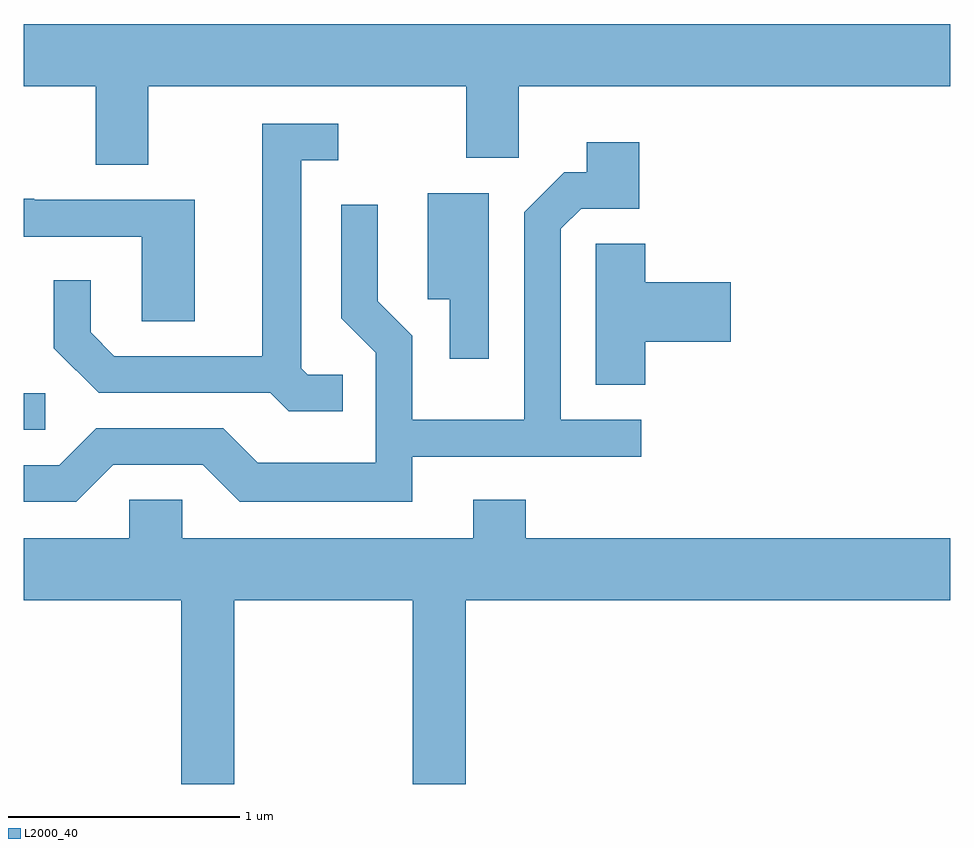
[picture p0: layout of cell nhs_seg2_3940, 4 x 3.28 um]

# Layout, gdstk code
import gdstk
lib = gdstk.Library(unit=1e-6, precision=1e-09)
def R(c, l, rs):  # rectangles x0, y0, x1, y1
    for r in rs: c.add(gdstk.rectangle(r[:2], r[2:], *l))
def P(c, l, *ps):  # polygons
    for p in ps: c.add(gdstk.Polygon(p, *l))
L2000_40 = (2000, 40)

nhs_seg2_3940 = lib.new_cell('nhs_seg2_3940')
R(nhs_seg2_3940, L2000_40, [(301.611,991.331,301.703,991.489)])
P(nhs_seg2_3940, L2000_40, [(302.149,992.816),(303.521,992.816),(303.521,992.506),(303.749,992.506),(303.749,992.816),(305.611,992.816),(305.611,993.084),(301.611,993.084),(301.611,992.816),(301.921,992.816),(301.921,992.476),(302.149,992.476)],
  [(302.988,991.569),(302.837,991.569),(302.809,991.597),(302.809,992.496),(302.968,992.496),(302.968,992.654),(302.641,992.654),(302.641,991.649),(302.002,991.649),(301.899,991.752),(301.899,991.978),(301.741,991.978),(301.741,991.684),(301.934,991.491),(302.674,991.491),(302.754,991.411),(302.988,991.411)],
  [(301.997,991.181),(302.384,991.181),(302.544,991.021),(303.289,991.021),(303.289,991.216),(304.278,991.216),(304.278,991.374),(303.929,991.374),(303.929,992.199),(304.017,992.286),(304.269,992.286),(304.269,992.574),(304.041,992.574),(304.041,992.444),(303.944,992.444),(303.771,992.272),(303.771,991.374),(303.289,991.374),(303.289,991.737),(303.139,991.887),(303.139,992.303),(302.981,992.303),(302.981,991.814),(303.131,991.664),(303.131,991.189),(302.622,991.189),(302.472,991.339),(301.924,991.339),(301.764,991.179),(301.611,991.179),(301.611,991.021),(301.837,991.021)],
  [(303.619,992.354),(303.356,992.354),(303.356,991.896),(303.451,991.896),(303.451,991.638),(303.619,991.638)],
  [(302.349,992.324),(301.655,992.324),(301.655,992.329),(301.611,992.329),(301.611,992.166),(302.121,992.166),(302.121,991.801),(302.349,991.801)],
  [(304.294,991.711),(304.664,991.711),(304.664,991.969),(304.294,991.969),(304.294,992.134),(304.081,992.134),(304.081,991.526),(304.294,991.526)],
  [(302.519,990.596),(303.291,990.596),(303.291,989.802),(303.519,989.802),(303.519,990.596),(305.611,990.596),(305.611,990.864),(303.779,990.864),(303.779,991.029),(303.551,991.029),(303.551,990.864),(302.294,990.864),(302.294,991.029),(302.066,991.029),(302.066,990.864),(301.611,990.864),(301.611,990.596),(302.291,990.596),(302.291,989.802),(302.519,989.802)])

lib.write_gds('nhs_seg2_3940.gds')
